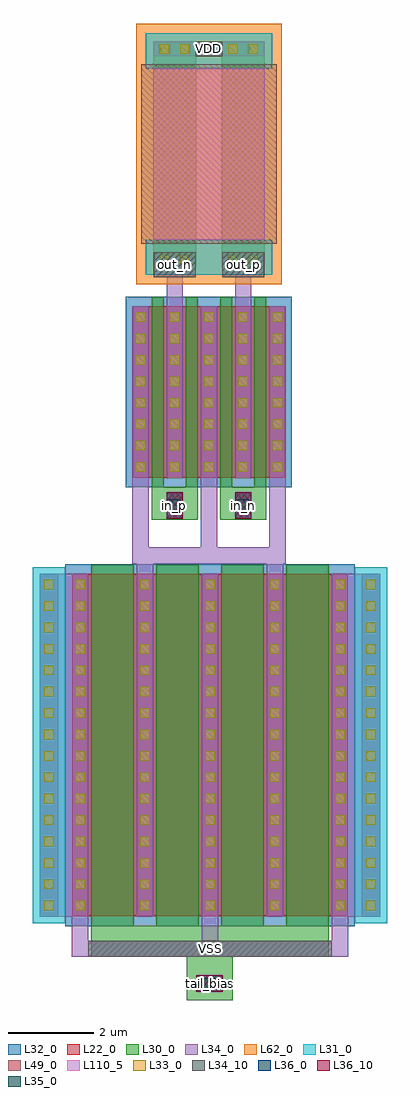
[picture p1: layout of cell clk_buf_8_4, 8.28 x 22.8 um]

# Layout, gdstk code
import gdstk
lib = gdstk.Library(unit=1e-6, precision=1e-09)
def R(c, l, rs):  # rectangles x0, y0, x1, y1
    for r in rs: c.add(gdstk.rectangle(r[:2], r[2:], *l))
def A(c, l, x, y, w, h, nx, ny, dx, dy):  # array of equal rectangles
    R(c, l, [(x+i*dx, y+j*dy, x+i*dx+w, y+j*dy+h) for i in range(nx) for j in range(ny)])
L22_0 = (22, 0)
L30_0 = (30, 0)
L31_0 = (31, 0)
L32_0 = (32, 0)
L33_0 = (33, 0)
L34_0 = (34, 0)
L34_10 = (34, 10)
L35_0 = (35, 0)
L36_0 = (36, 0)
L36_10 = (36, 10)
L49_0 = (49, 0)
L62_0 = (62, 0)
L110_5 = (110, 5)

nfet_3 = lib.new_cell('nfet$3')
R(nfet_3, L22_0, [(0,0,6.44,8)])
A(nfet_3, L30_0, 0.44, -0.22, 1, 8.44, 4, 1, 1.52, 0)
R(nfet_3, L32_0, [(-0.16,-0.23,6.6,8.23)])
A(nfet_3, L33_0, 0.07, 0.14, 0.22, 0.22, 5, 16, 1.52, 0.5)
A(nfet_3, L34_0, -0.01, -0.01, 0.38, 8.02, 5, 1, 1.52, 0)

nfet = lib.new_cell('nfet')
R(nfet, L22_0, [(0,0,3.56,4)])
A(nfet, L30_0, 0.44, -0.22, 0.28, 4.44, 4, 1, 0.8, 0)
R(nfet, L32_0, [(-0.16,-0.23,3.72,4.23)])
A(nfet, L33_0, 0.07, 0.14, 0.22, 0.22, 5, 8, 0.8, 0.5)
A(nfet, L34_0, -0.01, -0.01, 0.38, 4.02, 5, 1, 0.8, 0)

clk_buf_8_4 = lib.new_cell('clk_buf_8_4')
R(clk_buf_8_4, L22_0, [(-3.98,1.955,-3.54,9.955), (3.54,1.955,3.98,9.955)])
R(clk_buf_8_4, L30_0, [(-0.545,0,0.535,1.005), (-2.78,1.005,2.78,1.735), (-1.365,11.225,-0.285,11.985), (0.235,11.225,1.315,11.985), (-1.325,17.125,-0.325,22.405), (0.275,17.125,1.275,22.405)])
R(clk_buf_8_4, L31_0, [(-4.14,1.795,-3.38,10.115), (3.38,1.795,4.14,10.115), (-1.505,16.945,1.455,17.765), (-1.505,21.765,1.455,22.585)])
A(clk_buf_8_4, L33_0, -3.87, 2.095, 0.22, 0.22, 1, 16, 0, 0.5)
A(clk_buf_8_4, L33_0, 3.65, 2.095, 0.22, 0.22, 1, 16, 0, 0.5)
R(clk_buf_8_4, L33_0, [(-0.115,0.275,0.105,0.495), (-0.115,0.275,0.105,0.495), (-0.935,11.455,-0.715,11.675), (0.665,11.455,0.885,11.675), (-1.17,17.195,-0.95,17.415), (-0.7,17.195,-0.48,17.415), (0.43,17.195,0.65,17.415), (0.9,17.195,1.12,17.415), (-1.17,22.115,-0.95,22.335), (-0.7,22.115,-0.48,22.335), (0.43,22.115,0.65,22.335), (0.9,22.115,1.12,22.335)])
R(clk_buf_8_4, L34_0, [(-0.325,0.195,0.295,0.575), (-3.98,1.945,-3.23,9.965), (3.23,1.945,3.98,9.965), (-3.98,1.955,-3.54,9.955), (3.54,1.955,3.98,9.955), (-1.015,11.245,-0.635,11.865), (0.585,11.245,0.965,11.865), (-1.315,16.885,-0.335,17.135), (0.285,16.885,1.265,17.135), (-1.315,17.135,-0.335,17.475), (0.285,17.135,1.265,17.475), (-1.315,22.055,-0.335,22.395), (-0.335,22.055,0.285,22.395), (0.285,22.055,1.265,22.395)])
R(clk_buf_8_4, L34_10, [(-2.85,1.005,2.85,1.385), (-1.315,16.885,-0.335,17.475), (0.285,16.885,1.265,17.475), (-0.335,22.055,0.285,22.395)])
R(clk_buf_8_4, L35_0, [(-0.135,0.255,0.125,0.515), (-0.135,0.255,0.125,0.515), (-0.955,11.435,-0.695,11.695), (0.645,11.435,0.905,11.695)])
R(clk_buf_8_4, L36_0, [(-0.325,0.195,0.295,0.575), (-1.015,11.245,-0.635,11.865), (0.585,11.245,0.965,11.865)])
R(clk_buf_8_4, L36_10, [(-0.325,0.195,0.295,0.575), (-1.015,11.245,-0.635,11.865), (0.585,11.245,0.965,11.865)])
R(clk_buf_8_4, L49_0, [(-1.605,17.665,-0.045,21.865), (-0.045,17.665,-0.005,21.865), (-0.005,17.665,1.555,21.865)])
R(clk_buf_8_4, L62_0, [(-1.725,16.725,0.075,22.805), (-0.125,16.725,1.675,22.805)])
R(clk_buf_8_4, L110_5, [(-1.325,17.765,-0.325,21.765), (-0.325,17.765,0.275,21.765), (0.275,17.765,1.275,21.765)])
clk_buf_8_4.add(gdstk.FlexPath([(-1.625,12.195),(-1.625,10.385),(1.575,10.385),(1.575,12.195)], 0.38, ends="flush", simple_path=True, layer=34, datatype=0))  # L34_0
clk_buf_8_4.add(gdstk.FlexPath([(-1.52,10.185),(-1.52,10.195),(-1.52,10.195),(-1.52,10.195),(-1.52,10.195)], 0.38, ends="flush", simple_path=True, layer=34, datatype=0))  # L34_0
clk_buf_8_4.add(gdstk.FlexPath([(1.52,10.185),(1.52,10.195),(1.52,10.195),(1.52,10.195),(1.52,10.195)], 0.38, ends="flush", simple_path=True, layer=34, datatype=0))  # L34_0
clk_buf_8_4.add(gdstk.FlexPath([(-0.825,16.215),(-0.825,17.125)], 0.38, ends="flush", simple_path=True, layer=34, datatype=0))  # L34_0
clk_buf_8_4.add(gdstk.FlexPath([(0.775,16.215),(0.775,17.125)], 0.38, ends="flush", simple_path=True, layer=34, datatype=0))  # L34_0
clk_buf_8_4.add(gdstk.FlexPath([(-3.04,1.945),(-3.04,1.195),(0,1.195),(0,1.945)], 0.38, ends="flush", simple_path=True, layer=34, datatype=0))  # L34_0
clk_buf_8_4.add(gdstk.FlexPath([(0,1.195),(3.04,1.195),(3.04,1.945)], 0.38, ends="flush", simple_path=True, layer=34, datatype=0))  # L34_0
clk_buf_8_4.add(gdstk.FlexPath([(-0.025,12.195),(-0.025,10.565)], 0.38, ends="flush", simple_path=True, layer=34, datatype=0))  # L34_0
clk_buf_8_4.add(gdstk.FlexPath([(-1.52,9.965),(-1.52,10.185)], 0.38, ends="flush", simple_path=True, layer=34, datatype=0))  # L34_0
clk_buf_8_4.add(gdstk.FlexPath([(1.52,9.965),(1.52,10.185)], 0.38, ends="flush", simple_path=True, layer=34, datatype=0))  # L34_0
clk_buf_8_4.add(gdstk.Reference(nfet_3, (-3.22,1.955)))
clk_buf_8_4.add(gdstk.Reference(nfet, (-1.805,12.205)))
clk_buf_8_4.add(gdstk.Label('in_p', (-0.825,11.565), layer=36, texttype=10))
clk_buf_8_4.add(gdstk.Label('in_n', (0.775,11.565), layer=36, texttype=10))
clk_buf_8_4.add(gdstk.Label('tail_bias', (-0.005,0.395), layer=36, texttype=10))
clk_buf_8_4.add(gdstk.Label('VSS', (0,1.195), layer=34, texttype=10))
clk_buf_8_4.add(gdstk.Label('out_n', (-0.825,17.18), layer=34, texttype=10))
clk_buf_8_4.add(gdstk.Label('out_p', (0.775,17.18), layer=34, texttype=10))
clk_buf_8_4.add(gdstk.Label('VDD', (-0.025,22.225), layer=34, texttype=10))

lib.write_gds('clk_buf_8_4.gds')
